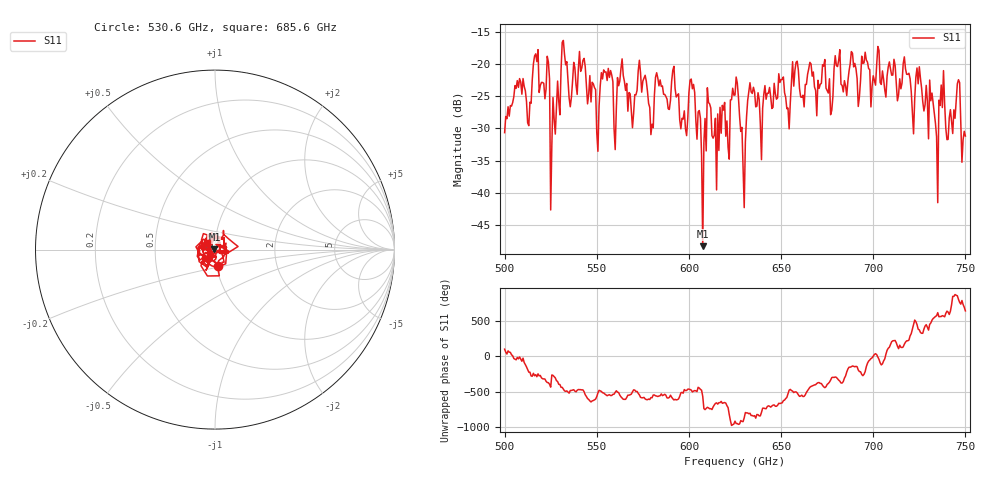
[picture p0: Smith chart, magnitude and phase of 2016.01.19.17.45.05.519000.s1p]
!Created with skrf (http://scikit-rf.org).
# GHz S RI R 50.0
!freq ReS11 ImS11
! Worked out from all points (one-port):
!   401 points, 500 GHz to 750 GHz, reference 50 ohm
!   lowest |S11| = -48.3 dB at 607.5 GHz (marker M1), VSWR 1.01, Z = 49.7 + j0.189 ohm
!   |S11| at or under -10 dB: start of sweep to end of sweep
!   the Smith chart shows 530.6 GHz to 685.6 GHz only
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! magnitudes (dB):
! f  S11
! 500 GHz  -30.7
! 506.9 GHz  -22.6
! 513.1 GHz  -29.6
! 516.9 GHz  -18.4
! 523.1 GHz  -18.8
! 526.2 GHz  -25.2
! 531.2 GHz  -16.6
! 550 GHz  -30.6
! 562.5 GHz  -22.6
! 579.4 GHz  -31.0
! 583.1 GHz  -22.2
! 593.8 GHz  -24.8
! 598.1 GHz  -30.1
! 601.9 GHz  -23.8
! 607.5 GHz  -48.3
! 611.2 GHz  -26.2
! 621.2 GHz  -33.0
! 625 GHz  -24.8
! 629.4 GHz  -35.8
! 633.8 GHz  -24.3
! 656.2 GHz  -19.6
! 687.5 GHz  -19.9
! 718.8 GHz  -21.6
! 733.8 GHz  -29.2
! 736.9 GHz  -23.2
! 740.6 GHz  -31.7
! 746.2 GHz  -22.4
! 750 GHz  -31.2
